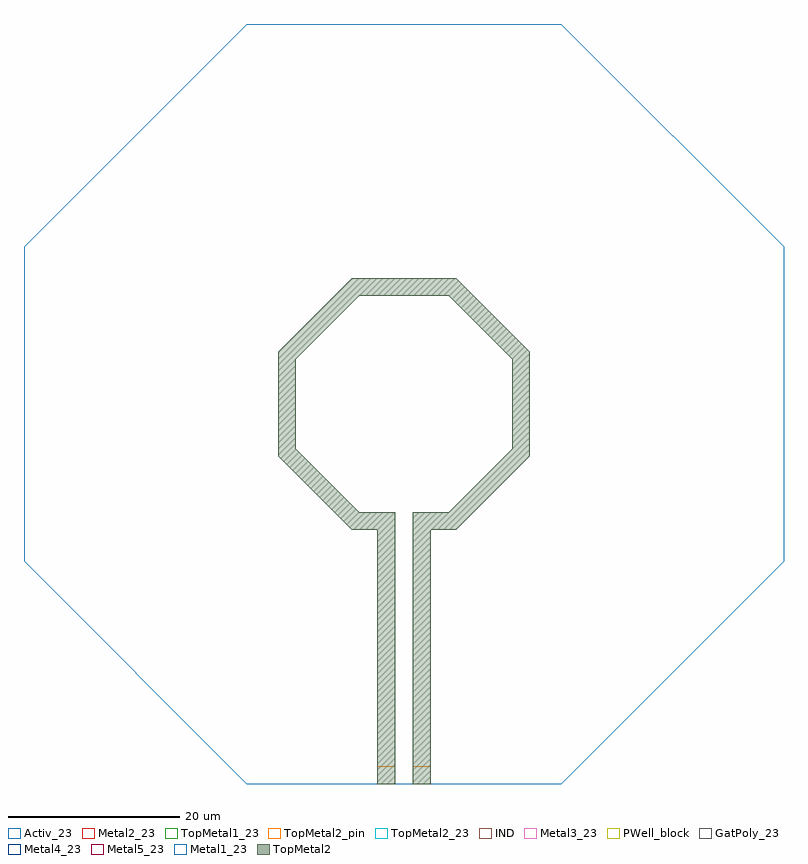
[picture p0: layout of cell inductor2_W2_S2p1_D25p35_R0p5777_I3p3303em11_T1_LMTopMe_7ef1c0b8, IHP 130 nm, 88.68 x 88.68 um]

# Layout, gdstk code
import gdstk
lib = gdstk.Library(unit=1e-6, precision=1e-09)
def R(c, l, rs):  # rectangles x0, y0, x1, y1
    for r in rs: c.add(gdstk.rectangle(r[:2], r[2:], *l))
def P(c, l, *ps):  # polygons
    for p in ps: c.add(gdstk.Polygon(p, *l))
Activ_23 = (1, 23)
GatPoly_23 = (5, 23)
Metal1_23 = (8, 23)
Metal2_23 = (10, 23)
IND = (27, 0)
Metal3_23 = (30, 23)
PWell_block = (46, 21)
Metal4_23 = (50, 23)
Metal5_23 = (67, 23)
TopMetal1_23 = (126, 23)
TopMetal2 = (134, 0)
TopMetal2_pin = (134, 2)
TopMetal2_23 = (134, 23)

unnamed_34 = lib.new_cell('Unnamed_34')
P(unnamed_34, TopMetal2, [(-6.07,29.685),(-14.655,38.27),(-14.655,50.41),(-6.07,58.995),(6.07,58.995),(14.655,50.41),(14.655,38.27),(6.07,29.685),(1.05,29.685),(1.05,31.685),(5.242,31.685),(12.655,39.098),(12.655,49.582),(5.242,56.995),(-5.242,56.995),(-12.655,49.582),(-12.655,39.098),(-5.242,31.685),(-1.05,31.685),(-1.05,29.685)])

rectangle_gdsfactorypcom = lib.new_cell('rectangle_gdsfactorypcomponentspshapesprectangle_S2p1_3_0c9343c1')
R(rectangle_gdsfactorypcom, TopMetal2, [(0,0,2.1,31.66)])

c_rectangle_gdsfactorypcom = lib.new_cell('rectangle_gdsfactorypcomponentspshapesprectangle_S2p1_2_11f85509')
R(c_rectangle_gdsfactorypcom, TopMetal2_pin, [(0,0,2.1,2.1)])

inductor2_w2_s2p1_d25p35 = lib.new_cell('inductor2_W2_S2p1_D25p35_R0p5777_I3p3303em11_T1_LMTopMe_7ef1c0b8')
P(inductor2_w2_s2p1_d25p35, Activ_23, [(-18.366,0),(-44.34,25.974),(-44.34,62.706),(-18.366,88.68),(18.366,88.68),(44.34,62.706),(44.34,25.974),(18.366,0)])
P(inductor2_w2_s2p1_d25p35, GatPoly_23, [(-18.366,0),(-44.34,25.974),(-44.34,62.706),(-18.366,88.68),(18.366,88.68),(44.34,62.706),(44.34,25.974),(18.366,0)])
P(inductor2_w2_s2p1_d25p35, Metal1_23, [(-18.366,0),(-44.34,25.974),(-44.34,62.706),(-18.366,88.68),(18.366,88.68),(44.34,62.706),(44.34,25.974),(18.366,0)])
P(inductor2_w2_s2p1_d25p35, Metal2_23, [(-18.366,0),(-44.34,25.974),(-44.34,62.706),(-18.366,88.68),(18.366,88.68),(44.34,62.706),(44.34,25.974),(18.366,0)])
P(inductor2_w2_s2p1_d25p35, IND, [(-18.366,0),(-44.34,25.974),(-44.34,62.706),(-18.366,88.68),(18.366,88.68),(44.34,62.706),(44.34,25.974),(18.366,0)])
P(inductor2_w2_s2p1_d25p35, Metal3_23, [(-18.366,0),(-44.34,25.974),(-44.34,62.706),(-18.366,88.68),(18.366,88.68),(44.34,62.706),(44.34,25.974),(18.366,0)])
P(inductor2_w2_s2p1_d25p35, PWell_block, [(-18.366,0),(-44.34,25.974),(-44.34,62.706),(-18.366,88.68),(18.366,88.68),(44.34,62.706),(44.34,25.974),(18.366,0)])
P(inductor2_w2_s2p1_d25p35, Metal4_23, [(-18.366,0),(-44.34,25.974),(-44.34,62.706),(-18.366,88.68),(18.366,88.68),(44.34,62.706),(44.34,25.974),(18.366,0)])
P(inductor2_w2_s2p1_d25p35, Metal5_23, [(-18.366,0),(-44.34,25.974),(-44.34,62.706),(-18.366,88.68),(18.366,88.68),(44.34,62.706),(44.34,25.974),(18.366,0)])
P(inductor2_w2_s2p1_d25p35, TopMetal1_23, [(-18.366,0),(-44.34,25.974),(-44.34,62.706),(-18.366,88.68),(18.366,88.68),(44.34,62.706),(44.34,25.974),(18.366,0)])
P(inductor2_w2_s2p1_d25p35, TopMetal2_23, [(-18.366,0),(-44.34,25.974),(-44.34,62.706),(-18.366,88.68),(18.366,88.68),(44.34,62.706),(44.34,25.974),(18.366,0)])
inductor2_w2_s2p1_d25p35.add(gdstk.Reference(unnamed_34, (0,0)))
inductor2_w2_s2p1_d25p35.add(gdstk.Reference(rectangle_gdsfactorypcom, (-3.15,0)))
inductor2_w2_s2p1_d25p35.add(gdstk.Reference(rectangle_gdsfactorypcom, (1.05,0)))
inductor2_w2_s2p1_d25p35.add(gdstk.Reference(c_rectangle_gdsfactorypcom, (1.05,0)))
inductor2_w2_s2p1_d25p35.add(gdstk.Reference(c_rectangle_gdsfactorypcom, (-3.15,0)))

lib.write_gds('inductor2_W2_S2p1_D25p35_R0p5777_I3p3303em11_T1_LMTopMe_7ef1c0b8.gds')
